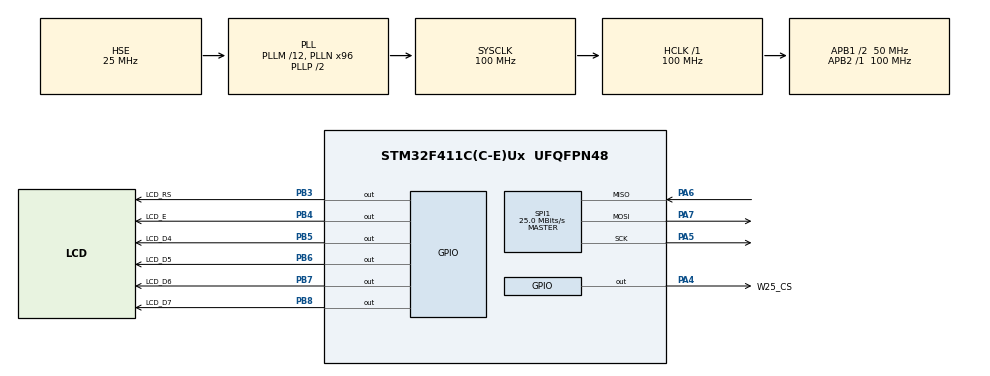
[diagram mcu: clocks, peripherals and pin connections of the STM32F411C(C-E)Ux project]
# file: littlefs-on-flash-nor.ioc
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Dma.Request0=SPI1_RX
Dma.Request1=SPI1_TX
Dma.SPI1_RX.0.Direction=DMA_PERIPH_TO_MEMORY
Dma.SPI1_RX.0.FIFOMode=DMA_FIFOMODE_DISABLE
Dma.SPI1_RX.0.Instance=DMA2_Stream0
Dma.SPI1_RX.0.MemDataAlignment=DMA_MDATAALIGN_BYTE
Dma.SPI1_RX.0.MemInc=DMA_MINC_ENABLE
Dma.SPI1_RX.0.Mode=DMA_NORMAL
Dma.SPI1_RX.0.PeriphDataAlignment=DMA_PDATAALIGN_BYTE
Dma.SPI1_RX.0.PeriphInc=DMA_PINC_DISABLE
Dma.SPI1_RX.0.Priority=DMA_PRIORITY_LOW
Dma.SPI1_TX.1.Direction=DMA_MEMORY_TO_PERIPH
Dma.SPI1_TX.1.FIFOMode=DMA_FIFOMODE_DISABLE
Dma.SPI1_TX.1.Instance=DMA2_Stream2
Dma.SPI1_TX.1.MemDataAlignment=DMA_MDATAALIGN_BYTE
Dma.SPI1_TX.1.MemInc=DMA_MINC_ENABLE
Dma.SPI1_TX.1.Mode=DMA_NORMAL
Dma.SPI1_TX.1.PeriphDataAlignment=DMA_PDATAALIGN_BYTE
Dma.SPI1_TX.1.PeriphInc=DMA_PINC_DISABLE
Dma.SPI1_TX.1.Priority=DMA_PRIORITY_LOW
Mcu.Family=STM32F4
Mcu.Name=STM32F411C(C-E)Ux
Mcu.Package=UFQFPN48
NVIC.DMA2_Stream0_IRQn=true\:0\:0\:false\:false\:true\:false\:true\:true
NVIC.DMA2_Stream2_IRQn=true\:0\:0\:false\:false\:true\:false\:true\:true
NVIC.PriorityGroup=NVIC_PRIORITYGROUP_4
NVIC.SPI1_IRQn=true\:0\:0\:false\:false\:true\:true\:true\:true
PA13.Mode=Serial_Wire
PA13.Signal=SYS_JTMS-SWDIO
PA14.Mode=Serial_Wire
PA14.Signal=SYS_JTCK-SWCLK
PA4.GPIO_Label=W25_CS
PA4.GPIO_Speed=GPIO_SPEED_FREQ_VERY_HIGH
PA4.PinState=GPIO_PIN_SET
PA4.Signal=GPIO_Output
PA5.Mode=Full_Duplex_Master
PA5.Signal=SPI1_SCK
PA6.Mode=Full_Duplex_Master
PA6.Signal=SPI1_MISO
PA7.Mode=Full_Duplex_Master
PA7.Signal=SPI1_MOSI
PB3.GPIO_Label=LCD_RS
PB3.GPIO_ModeDefaultOutputPP=GPIO_MODE_OUTPUT_PP
PB3.GPIO_Speed=GPIO_SPEED_FREQ_VERY_HIGH
PB3.PinState=GPIO_PIN_RESET
PB3.Signal=GPIO_Output
PB4.GPIO_Label=LCD_E
PB4.GPIO_ModeDefaultOutputPP=GPIO_MODE_OUTPUT_PP
PB4.GPIO_Speed=GPIO_SPEED_FREQ_VERY_HIGH
PB4.PinState=GPIO_PIN_RESET
PB4.Signal=GPIO_Output
PB5.GPIO_Label=LCD_D4
PB5.GPIO_ModeDefaultOutputPP=GPIO_MODE_OUTPUT_PP
PB5.GPIO_Speed=GPIO_SPEED_FREQ_VERY_HIGH
PB5.PinState=GPIO_PIN_RESET
PB5.Signal=GPIO_Output
PB6.GPIO_Label=LCD_D5
PB6.GPIO_ModeDefaultOutputPP=GPIO_MODE_OUTPUT_PP
PB6.GPIO_Speed=GPIO_SPEED_FREQ_VERY_HIGH
PB6.PinState=GPIO_PIN_RESET
PB6.Signal=GPIO_Output
PB7.GPIO_Label=LCD_D6
PB7.GPIO_ModeDefaultOutputPP=GPIO_MODE_OUTPUT_PP
PB7.GPIO_Speed=GPIO_SPEED_FREQ_VERY_HIGH
PB7.PinState=GPIO_PIN_RESET
PB7.Signal=GPIO_Output
PB8.GPIO_Label=LCD_D7
PB8.Signal=GPIO_Output
PH0\ -\ OSC_IN.Mode=HSE-External-Oscillator
PH0\ -\ OSC_IN.Signal=RCC_OSC_IN
PH1\ -\ OSC_OUT.Mode=HSE-External-Oscillator
PH1\ -\ OSC_OUT.Signal=RCC_OSC_OUT
ProjectManager.HeapSize=0x200
ProjectManager.StackSize=0x400
ProjectManager.TargetToolchain=STM32CubeIDE
RCC.48MHZClocksFreq_Value=50000000
RCC.AHBFreq_Value=100000000
RCC.APB1CLKDivider=RCC_HCLK_DIV2
RCC.APB1Freq_Value=50000000
RCC.APB1TimFreq_Value=100000000
RCC.APB2Freq_Value=100000000
RCC.APB2TimFreq_Value=100000000
RCC.CortexFreq_Value=100000000
RCC.HCLKFreq_Value=100000000
RCC.HSE_VALUE=25000000
RCC.HSI_VALUE=16000000
RCC.LSE_VALUE=32768
RCC.PLLM=12
RCC.PLLN=96
RCC.PLLSourceVirtual=RCC_PLLSOURCE_HSE
RCC.SYSCLKFreq_VALUE=100000000
RCC.SYSCLKSource=RCC_SYSCLKSOURCE_PLLCLK
RCC.VCOOutputFreq_Value=200000000
SPI1.BaudRatePrescaler=SPI_BAUDRATEPRESCALER_4
SPI1.CalculateBaudRate=25.0 MBits/s
SPI1.Direction=SPI_DIRECTION_2LINES
SPI1.Mode=SPI_MODE_MASTER
SPI1.VirtualType=VM_MASTER
TIM2.Prescaler=99
VP_TIM2_VS_ClockSourceINT.Mode=Internal
board=custom

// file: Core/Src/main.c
/* USER CODE BEGIN Header */
/**
  ******************************************************************************
  * @file           : main.c
  * @brief          : Main program body
  ******************************************************************************
  * @attention
  *
  * Copyright (c) 2023 STMicroelectronics.
  * All rights reserved.
  *
  * This software is licensed under terms that can be found in the LICENSE file
  * in the root directory of this software component.
  * If no LICENSE file comes with this software, it is provided AS-IS.
  *
  ******************************************************************************
  */
/* USER CODE END Header */
#include "main.h"

/* USER CODE BEGIN Includes */
#include <string.h>
#include <stdio.h>

#include "lfs.h"
#include "nor.h"
#include "lcdDisplay.h"
/* USER CODE END Includes */

/* USER CODE BEGIN PD */
typedef struct{
	uint32_t secCount;
	uint32_t bootCount;
}app_count_t;
/* USER CODE END PD */

SPI_HandleTypeDef hspi1;
DMA_HandleTypeDef hdma_spi1_rx;
DMA_HandleTypeDef hdma_spi1_tx;

TIM_HandleTypeDef htim2;

/* USER CODE BEGIN PV */
app_count_t Counter = {0};

// Lcd Instance
lcd_t Lcd;

//Flash Nor Instance
nor_t Nor;

// Lfs instance
lfs_t Lfs;
/* USER CODE END PV */

void SystemClock_Config(void);
static void MX_GPIO_Init(void);
static void MX_DMA_Init(void);
static void MX_SPI1_Init(void);
static void MX_TIM2_Init(void);

/* USER CODE BEGIN 0 */

/** Func. Memória NOR **/

volatile uint8_t DmaEnd = 0;

void HAL_SPI_TxCpltCallback(SPI_HandleTypeDef *hspi){
	DmaEnd = 1;
}

void HAL_SPI_RxCpltCallback(SPI_HandleTypeDef *hspi){
	DmaEnd = 1;
}

void nor_delay_us(uint32_t us){
	if (us >= __HAL_TIM_GET_AUTORELOAD(&htim2)){
		us = __HAL_TIM_GET_AUTORELOAD(&htim2) - 1;
	}
	__HAL_TIM_SET_COUNTER(&htim2, 0);
	HAL_TIM_Base_Start(&htim2);
	while (__HAL_TIM_GET_COUNTER(&htim2) < us);
	HAL_TIM_Base_Stop(&htim2);
}

void nor_cs_assert(){
	HAL_GPIO_WritePin(W25_CS_GPIO_Port, W25_CS_Pin, GPIO_PIN_RESET);
}

void nor_cs_deassert(){
	HAL_GPIO_WritePin(W25_CS_GPIO_Port, W25_CS_Pin, GPIO_PIN_SET);
}

void nor_spi_tx(uint8_t *pData, uint32_t Size){
//	HAL_SPI_Transmit(&hspi1, pData, Size, 100);
	DmaEnd = 0;
	HAL_SPI_Transmit_DMA(&hspi1, pData, Size);
	while (DmaEnd == 0);
}

void nor_spi_rx(uint8_t *pData, uint32_t Size){
//	HAL_SPI_Receive(&hspi1, pData, Size, 100);
	DmaEnd = 0;
	HAL_SPI_Receive_DMA(&hspi1, pData, Size);
	while (DmaEnd == 0);
}

void __init_nor(){
	Nor.config.CsAssert = nor_cs_assert;
	Nor.config.CsDeassert = nor_cs_deassert;
	Nor.config.DelayUs = nor_delay_us;
	Nor.config.SpiRxFxn = nor_spi_rx;
	Nor.config.SpiTxFxn = nor_spi_tx;

	if (NOR_Init(&Nor) != NOR_OK){
		Error_Handler();
	}
}

/** Start LittleFs **/

int _fs_read(const struct lfs_config *c, lfs_block_t block,
            lfs_off_t off, void *buffer, lfs_size_t size){

	if (NOR_ReadSector(&Nor, (uint8_t*)buffer, block, off, size) == NOR_OK){
		return 0;
	}

	return LFS_ERR_IO;
}

int _fs_write(const struct lfs_config *c, lfs_block_t block,
        lfs_off_t off, const void *buffer, lfs_size_t size){

	if (NOR_WriteSector(&Nor, (uint8_t*)buffer, block, off, size) == NOR_OK){
		return 0;
	}

	return LFS_ERR_IO;
}

int _fs_erase(const struct lfs_config *c, lfs_block_t block){
	if (NOR_EraseSector(&Nor, block) == NOR_OK){
		return 0;
	}

	return LFS_ERR_IO;
}

int _fs_sync(const struct lfs_config *c){
	return 0;
}

void __init_littefs(){
	// because of static qualifier, this variable
	// will have a dedicated address
	static struct lfs_config LfsConfig = {0};
	int Error;

	LfsConfig.read_size = 64;
	LfsConfig.prog_size = 64;
	LfsConfig.block_size = Nor.info.u16SectorSize;
	LfsConfig.block_count = Nor.info.u32SectorCount;
	LfsConfig.cache_size = Nor.info.u16PageSize;
	LfsConfig.lookahead_size = Nor.info.u32SectorCount/8;
	LfsConfig.block_cycles = 15000;

	LfsConfig.read = _fs_read;
	LfsConfig.prog = _fs_write;
	LfsConfig.erase = _fs_erase;
	LfsConfig.sync = _fs_sync;

	Error = lfs_mount(&Lfs, &LfsConfig);
	if (Error != LFS_ERR_OK){
		lfs_format(&Lfs, &LfsConfig);
		Error = lfs_mount(&Lfs, &LfsConfig);
		if (Error != LFS_ERR_OK){
			Error_Handler();
		}
	}
}

void __init_storage(){
	__init_nor();
	__init_littefs();
}

/** Lcd Functions **/

void __init_display(){
	Lcd.columns = 16;
	Lcd.rows = 2;
	Lcd.font = LCD_FONT_5X8;
	Lcd.interface = LCD_INTERFACE_4BIT;
	Lcd.gpios[LCD_RS].GPIO = (uint32_t)LCD_RS_GPIO_Port;
	Lcd.gpios[LCD_RS].pin = LCD_RS_Pin;
	Lcd.gpios[LCD_E].GPIO = (uint32_t)LCD_E_GPIO_Port;
	Lcd.gpios[LCD_E].pin = LCD_E_Pin;
	Lcd.gpios[LCD_D4].GPIO = (uint32_t)LCD_D4_GPIO_Port;
	Lcd.gpios[LCD_D4].pin = LCD_D4_Pin;
	Lcd.gpios[LCD_D5].GPIO = (uint32_t)LCD_D5_GPIO_Port;
	Lcd.gpios[LCD_D5].pin = LCD_D5_Pin;
	Lcd.gpios[LCD_D6].GPIO = (uint32_t)LCD_D6_GPIO_Port;
	Lcd.gpios[LCD_D6].pin = LCD_D6_Pin;
	Lcd.gpios[LCD_D7].GPIO = (uint32_t)LCD_D7_GPIO_Port;
	Lcd.gpios[LCD_D7].pin = LCD_D7_Pin;

	lcd_init(&Lcd);

	lcd_send_string(&Lcd, ">> LittleFs App");
}

/* USER CODE END 0 */

int main(void)
{
  /* USER CODE BEGIN 1 */
	lfs_file_t File;
	uint32_t HalTickAux;
	char Text[20];
  /* USER CODE END 1 */

  /* MCU Configuration--------------------------------------------------------*/

  /* Reset of all peripherals, Initializes the Flash interface and the Systick. */
  HAL_Init();

  /* Configure the system clock */
  SystemClock_Config();

  /* Initialize all configured peripherals */
  MX_GPIO_Init();
  MX_DMA_Init();
  MX_SPI1_Init();
  MX_TIM2_Init();
  /* USER CODE BEGIN 2 */
  HAL_Delay(100);

  __init_storage();
  __init_display();

  lfs_file_open(&Lfs, &File, "count.bin", LFS_O_RDWR | LFS_O_CREAT);
  lfs_file_read(&Lfs, &File, &Counter, sizeof(app_count_t));
  lfs_file_close(&Lfs, &File);

  Counter.bootCount += 1;
  /* USER CODE END 2 */

  /* Infinite loop */
  /* USER CODE BEGIN WHILE */
  while (1)
  {
	  HalTickAux = HAL_GetTick();

	  sprintf(Text, "Bt %lu |Ct %lu", Counter.bootCount, Counter.secCount);
	  lcd_clear_row(&Lcd, 1);
	  lcd_send_string_pos(&Lcd, Text, 1, 0);

	  lfs_file_open(&Lfs, &File, "count.bin", LFS_O_RDWR | LFS_O_CREAT);
	  lfs_file_write(&Lfs, &File, &Counter, sizeof(app_count_t));
	  lfs_file_close(&Lfs, &File);

	  while ((HAL_GetTick() - HalTickAux) < 1000);

	  Counter.secCount += 1;
    /* USER CODE END WHILE */

  }
}

void SystemClock_Config(void)
{
  RCC_OscInitTypeDef RCC_OscInitStruct = {0};
  RCC_ClkInitTypeDef RCC_ClkInitStruct = {0};

  /** Configure the main internal regulator output voltage
  */
  __HAL_RCC_PWR_CLK_ENABLE();
  __HAL_PWR_VOLTAGESCALING_CONFIG(PWR_REGULATOR_VOLTAGE_SCALE1);

  /** Initializes the RCC Oscillators according to the specified parameters
  * in the RCC_OscInitTypeDef structure.
  */
  RCC_OscInitStruct.OscillatorType = RCC_OSCILLATORTYPE_HSE;
  RCC_OscInitStruct.HSEState = RCC_HSE_ON;
  RCC_OscInitStruct.PLL.PLLState = RCC_PLL_ON;
  RCC_OscInitStruct.PLL.PLLSource = RCC_PLLSOURCE_HSE;
  RCC_OscInitStruct.PLL.PLLM = 12;
  RCC_OscInitStruct.PLL.PLLN = 96;
  RCC_OscInitStruct.PLL.PLLP = RCC_PLLP_DIV2;
  RCC_OscInitStruct.PLL.PLLQ = 4;
  if (HAL_RCC_OscConfig(&RCC_OscInitStruct) != HAL_OK)
  {
    Error_Handler();
  }

  /** Initializes the CPU, AHB and APB buses clocks
  */
  RCC_ClkInitStruct.ClockType = RCC_CLOCKTYPE_HCLK|RCC_CLOCKTYPE_SYSCLK
                              |RCC_CLOCKTYPE_PCLK1|RCC_CLOCKTYPE_PCLK2;
  RCC_ClkInitStruct.SYSCLKSource = RCC_SYSCLKSOURCE_PLLCLK;
  RCC_ClkInitStruct.AHBCLKDivider = RCC_SYSCLK_DIV1;
  RCC_ClkInitStruct.APB1CLKDivider = RCC_HCLK_DIV2;
  RCC_ClkInitStruct.APB2CLKDivider = RCC_HCLK_DIV1;

  if (HAL_RCC_ClockConfig(&RCC_ClkInitStruct, FLASH_LATENCY_3) != HAL_OK)
  {
    Error_Handler();
  }
}

static void MX_SPI1_Init(void)
{

  /* SPI1 parameter configuration*/
  hspi1.Instance = SPI1;
  hspi1.Init.Mode = SPI_MODE_MASTER;
  hspi1.Init.Direction = SPI_DIRECTION_2LINES;
  hspi1.Init.DataSize = SPI_DATASIZE_8BIT;
  hspi1.Init.CLKPolarity = SPI_POLARITY_LOW;
  hspi1.Init.CLKPhase = SPI_PHASE_1EDGE;
  hspi1.Init.NSS = SPI_NSS_SOFT;
  hspi1.Init.BaudRatePrescaler = SPI_BAUDRATEPRESCALER_4;
  hspi1.Init.FirstBit = SPI_FIRSTBIT_MSB;
  hspi1.Init.TIMode = SPI_TIMODE_DISABLE;
  hspi1.Init.CRCCalculation = SPI_CRCCALCULATION_DISABLE;
  hspi1.Init.CRCPolynomial = 10;
  if (HAL_SPI_Init(&hspi1) != HAL_OK)
  {
    Error_Handler();
  }

}

static void MX_TIM2_Init(void)
{

  TIM_ClockConfigTypeDef sClockSourceConfig = {0};
  TIM_MasterConfigTypeDef sMasterConfig = {0};

  htim2.Instance = TIM2;
  htim2.Init.Prescaler = 99;
  htim2.Init.CounterMode = TIM_COUNTERMODE_UP;
  htim2.Init.Period = 4294967295;
  htim2.Init.ClockDivision = TIM_CLOCKDIVISION_DIV1;
  htim2.Init.AutoReloadPreload = TIM_AUTORELOAD_PRELOAD_DISABLE;
  if (HAL_TIM_Base_Init(&htim2) != HAL_OK)
  {
    Error_Handler();
  }
  sClockSourceConfig.ClockSource = TIM_CLOCKSOURCE_INTERNAL;
  if (HAL_TIM_ConfigClockSource(&htim2, &sClockSourceConfig) != HAL_OK)
  {
    Error_Handler();
  }
  sMasterConfig.MasterOutputTrigger = TIM_TRGO_RESET;
  sMasterConfig.MasterSlaveMode = TIM_MASTERSLAVEMODE_DISABLE;
  if (HAL_TIMEx_MasterConfigSynchronization(&htim2, &sMasterConfig) != HAL_OK)
  {
    Error_Handler();
  }

}

static void MX_DMA_Init(void)
{

  /* DMA controller clock enable */
  __HAL_RCC_DMA2_CLK_ENABLE();

  /* DMA interrupt init */
  /* DMA2_Stream0_IRQn interrupt configuration */
  HAL_NVIC_SetPriority(DMA2_Stream0_IRQn, 0, 0);
  HAL_NVIC_EnableIRQ(DMA2_Stream0_IRQn);
  /* DMA2_Stream2_IRQn interrupt configuration */
  HAL_NVIC_SetPriority(DMA2_Stream2_IRQn, 0, 0);
  HAL_NVIC_EnableIRQ(DMA2_Stream2_IRQn);

}

static void MX_GPIO_Init(void)
{
  GPIO_InitTypeDef GPIO_InitStruct = {0};

  /* GPIO Ports Clock Enable */
  __HAL_RCC_GPIOH_CLK_ENABLE();
  __HAL_RCC_GPIOA_CLK_ENABLE();
  __HAL_RCC_GPIOB_CLK_ENABLE();

  /*Configure GPIO pin Output Level */
  HAL_GPIO_WritePin(W25_CS_GPIO_Port, W25_CS_Pin, GPIO_PIN_SET);

  /*Configure GPIO pin Output Level */
  HAL_GPIO_WritePin(GPIOB, LCD_RS_Pin|LCD_E_Pin|LCD_D4_Pin|LCD_D5_Pin
                          |LCD_D6_Pin|LCD_D7_Pin, GPIO_PIN_RESET);

  /*Configure GPIO pin : W25_CS_Pin */
  GPIO_InitStruct.Pin = W25_CS_Pin;
  GPIO_InitStruct.Mode = GPIO_MODE_OUTPUT_PP;
  GPIO_InitStruct.Pull = GPIO_NOPULL;
  GPIO_InitStruct.Speed = GPIO_SPEED_FREQ_VERY_HIGH;
  HAL_GPIO_Init(W25_CS_GPIO_Port, &GPIO_InitStruct);

  /*Configure GPIO pins : LCD_RS_Pin LCD_E_Pin LCD_D4_Pin LCD_D5_Pin
                           LCD_D6_Pin */
  GPIO_InitStruct.Pin = LCD_RS_Pin|LCD_E_Pin|LCD_D4_Pin|LCD_D5_Pin
                          |LCD_D6_Pin;
  GPIO_InitStruct.Mode = GPIO_MODE_OUTPUT_PP;
  GPIO_InitStruct.Pull = GPIO_NOPULL;
  GPIO_InitStruct.Speed = GPIO_SPEED_FREQ_VERY_HIGH;
  HAL_GPIO_Init(GPIOB, &GPIO_InitStruct);

  /*Configure GPIO pin : LCD_D7_Pin */
  GPIO_InitStruct.Pin = LCD_D7_Pin;
  GPIO_InitStruct.Mode = GPIO_MODE_OUTPUT_PP;
  GPIO_InitStruct.Pull = GPIO_NOPULL;
  GPIO_InitStruct.Speed = GPIO_SPEED_FREQ_LOW;
  HAL_GPIO_Init(LCD_D7_GPIO_Port, &GPIO_InitStruct);

}

void Error_Handler(void)
{
  __disable_irq();
  while (1)
  {
  }
}
